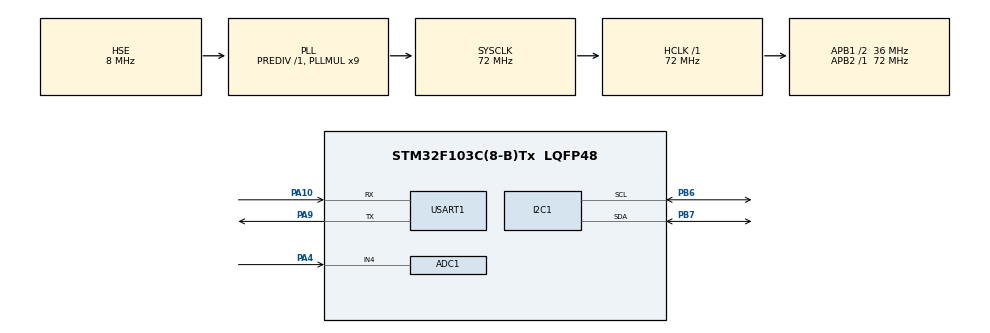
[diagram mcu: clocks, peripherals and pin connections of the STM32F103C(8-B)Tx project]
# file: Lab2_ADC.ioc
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ADC1.Channel-2\#ChannelRegularConversion=ADC_CHANNEL_4
ADC1.ContinuousConvMode=ENABLE
ADC1.NbrOfConversion=1
ADC1.NbrOfConversionFlag=1
ADC1.Rank-2\#ChannelRegularConversion=1
ADC1.SamplingTime-2\#ChannelRegularConversion=ADC_SAMPLETIME_239CYCLES_5
ADC1.master=1
Mcu.Family=STM32F1
Mcu.Name=STM32F103C(8-B)Tx
Mcu.Package=LQFP48
NVIC.ADC1_2_IRQn=true\:0\:0\:false\:false\:true\:true\:true\:true
NVIC.I2C1_ER_IRQn=true\:0\:0\:false\:false\:true\:true\:true\:true
NVIC.I2C1_EV_IRQn=true\:0\:0\:false\:false\:true\:true\:true\:true
NVIC.PriorityGroup=NVIC_PRIORITYGROUP_4
NVIC.USART1_IRQn=true\:0\:0\:false\:false\:true\:true\:true\:true
PA10.Mode=Asynchronous
PA10.Signal=USART1_RX
PA13.Mode=Serial_Wire
PA13.Signal=SYS_JTMS-SWDIO
PA14.Mode=Serial_Wire
PA14.Signal=SYS_JTCK-SWCLK
PA4.Signal=ADCx_IN4
PA9.Mode=Asynchronous
PA9.Signal=USART1_TX
PB6.Mode=I2C
PB6.Signal=I2C1_SCL
PB7.Mode=I2C
PB7.Signal=I2C1_SDA
PD0-OSC_IN.Mode=HSE-External-Oscillator
PD0-OSC_IN.Signal=RCC_OSC_IN
PD1-OSC_OUT.Mode=HSE-External-Oscillator
PD1-OSC_OUT.Signal=RCC_OSC_OUT
ProjectManager.HeapSize=0x200
ProjectManager.StackSize=0x400
ProjectManager.TargetToolchain=STM32CubeIDE
RCC.ADCPresc=RCC_ADCPCLK2_DIV6
RCC.AHBFreq_Value=72000000
RCC.APB1CLKDivider=RCC_HCLK_DIV2
RCC.APB1Freq_Value=36000000
RCC.APB1TimFreq_Value=72000000
RCC.APB2Freq_Value=72000000
RCC.APB2TimFreq_Value=72000000
RCC.HCLKFreq_Value=72000000
RCC.PLLMUL=RCC_PLL_MUL9
RCC.PLLSourceVirtual=RCC_PLLSOURCE_HSE
RCC.SYSCLKFreq_VALUE=72000000
RCC.SYSCLKSource=RCC_SYSCLKSOURCE_PLLCLK
RCC.USBFreq_Value=72000000
SH.ADCx_IN4.0=ADC1_IN4,IN4
USART1.VirtualMode=VM_ASYNC
board=custom

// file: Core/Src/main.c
/* USER CODE BEGIN Header */
/**
  ******************************************************************************
  * @file           : main.c
  * @brief          : Main program body
  ******************************************************************************
  * @attention
  *
  * Copyright (c) 2023 STMicroelectronics.
  * All rights reserved.
  *
  * This software is licensed under terms that can be found in the LICENSE file
  * in the root directory of this software component.
  * If no LICENSE file comes with this software, it is provided AS-IS.
  *
  ******************************************************************************
  */
/* USER CODE END Header */
#include "main.h"

/* USER CODE BEGIN Includes */
#include "stdio.h"
#include "stdint.h"
#include "string.h"
#include "math.h"
/* USER CODE END Includes */

/* USER CODE BEGIN PTD */
typedef struct
{
	float voltage_src;
	uint16_t shunt_voltage_raw; //having negative value
	float shunt_voltage;
	uint16_t bus_voltage_raw;
	float bus_voltage;
	uint16_t current;
	uint16_t power; //Performance (hieu suat) - having negative value
}INA219_Measurement;

/* USER CODE END PTD */

/* USER CODE BEGIN PD */
#define MAX_CONV_RANGE 3.6 //(Conversion voltage range of ADC) Callib value based on which STM32 used
#define MAX_ADC_RESOLUTION_VAL 4095 //STM32F103C8T6 ADC 12 bits
#define ACCURACY_TEMPERATURE_CELCIUS 100 //10mv/Celcius based on LM35 datasheet
//Temperature Sensor Datasheet: extension://bfdogplmndidlpjfhoijckpakkdjkkil/pdf/viewer.html?file=https%3A%2F%2Fwww.ti.com%2Flit%2Fds%2Fsymlink%2Flm35.pdf

//////////// INA219 ////////////
//Define device address
#define INA219_SLAVE_ADDRESS (0x40<<1)
//Define i2c protocol sensor register address - BEGIN
#define INA219_CONFIG_REG 0x007
#define INA219_SHUNTVOLTAGE_REG 0x01
#define INA219_BUSVOLTAGE_REG 0x02
#define INA219_POWER_REG 0x03
#define INA219_CURRENT_REG 0x04
#define INA219_CALLIB_REG 0x05
//Define i2c protocol sensor register address - END
///////////////////////////////
/* USER CODE END PD */

ADC_HandleTypeDef hadc1;

I2C_HandleTypeDef hi2c1;

UART_HandleTypeDef huart1;

/* USER CODE BEGIN PV */
uint32_t raw_temperature_val = 0; //digital value output value from adc
float voltage_temperature_convert = 0; //Voltage analog value convert
float temperature = 0; //temperature after processing
uint8_t Tx_Buffer[2048]; //UART buffer
//in future targ. tạo mảng động
uint8_t Ina219_ready_readflag = 0;

INA219_Measurement ina1;

/* USER CODE END PV */

void SystemClock_Config(void);
static void MX_GPIO_Init(void);
static void MX_ADC1_Init(void);
static void MX_USART1_UART_Init(void);
static void MX_I2C1_Init(void);
/* USER CODE BEGIN PFP */
void Ina219_Init(void);
uint16_t eightbit_to_16bit_conv(uint8_t num1,uint8_t num2);
void Ina219_Read_Value(INA219_Measurement *pTarget);
float conversion(uint16_t dec_num);
void debug_show(); //recreate this func to make it more reusable in future
//First determine what kind of input we could have, how to print it out?
//pointer to value
/* USER CODE END PFP */

/* USER CODE BEGIN 0 */

float conversion(uint16_t dec_num)
{
    // array to store binary number
    uint8_t binaryNum[16] = {0,0,0,0,0,0,0,0,0,0,0,0,0,0,0,0};
    //						LSB								MSB
    float conv_result = 0;

    // counter for binary array
    int i = 0;
    while (dec_num > 0) {

        // storing remainder in binary array
        binaryNum[i] = dec_num % 2;
        dec_num = dec_num / 2;
        i++;
    }

    for (int j = 0; j < i; j++)
    {
        if(j==15 && binaryNum[j]==1)
        {
        	conv_result += (int)(pow(2,j)*(-1));
        }
    }

    binaryNum[0] -= 1; //tru chua dung

    // printing binary array in reverse order
    for (int j = 0; j < i; j++)
    {
    	//thuc hien bu 2
    	//1 dao bit
    	//2 cong 1
    	binaryNum[j] = !binaryNum[j];
    }

    for (int j = 0; j < i; j++)
    {
    	if(binaryNum[j]==1)
    	{
    		conv_result += (int)(pow(2,j));
    	}
    }

//    memset(Tx_Buffer,0,sizeof(Tx_Buffer)); //clear buffer before write
//    sprintf((char*)Tx_Buffer,"conv-res: %.2f",(float)conv_result/100);
//    HAL_UART_Transmit(&huart1,Tx_Buffer,sizeof(Tx_Buffer), 10);
//    HAL_Delay(1000);

    return conv_result;
}

void Ina219_Init(void)
{
	uint8_t buffer[3];
	buffer[0] = INA219_CALLIB_REG;
	buffer[1] = 0x01; //MSB callib reg
	buffer[2] = 0x9A; //LSB callib reg
	//init ina219 callibration
	//28ms is time out value based on ina219 datasheet corresponding to SMBus
	if(HAL_I2C_Master_Transmit(&hi2c1, INA219_SLAVE_ADDRESS,buffer,3,28)==HAL_OK)
	{
		memset(Tx_Buffer,0,sizeof(Tx_Buffer)); //clear buffer before write
		sprintf((char*)Tx_Buffer,"INA219: I2C TRANSMIT CALLIB SUCCESSFULLY!\nReady to read..");
		HAL_UART_Transmit(&huart1,Tx_Buffer,sizeof(Tx_Buffer), 10);
		Ina219_ready_readflag = 1;
	} else if (HAL_I2C_Master_Transmit(&hi2c1, INA219_SLAVE_ADDRESS,buffer,3,28)==HAL_ERROR)
	{
		memset(Tx_Buffer,0,sizeof(Tx_Buffer)); //clear buffer before write
		sprintf((char*)Tx_Buffer,"INA219: I2C TRANSMIT CALLIB ERROR!\n");
		HAL_UART_Transmit(&huart1,Tx_Buffer,sizeof(Tx_Buffer), 10);
	} else if (HAL_I2C_Master_Transmit(&hi2c1, INA219_SLAVE_ADDRESS,buffer,3,28)==HAL_BUSY)
	{
		memset(Tx_Buffer,0,sizeof(Tx_Buffer)); //clear buffer before write
		sprintf((char*)Tx_Buffer,"INA219: I2C TRANSMIT CALLIB BUSY!\n");
		HAL_UART_Transmit(&huart1,Tx_Buffer,sizeof(Tx_Buffer), 10);
	}
	HAL_Delay(1000);
}

void Ina219_Read_Value(INA219_Measurement *pTarget)
{
	uint8_t current_val_buffer[2];
	uint8_t bus_voltage_val_buffer[2];
	uint8_t shuntvoltage_val_buffer[2];
	uint8_t power_val_buffer[2];

	//current handle - Fix to read right shunt voltage with = signed value
	if(HAL_I2C_Master_Transmit(&hi2c1, INA219_SLAVE_ADDRESS,(uint8_t*)INA219_CURRENT_REG,1,28)==HAL_OK)
	{
		 //memset(Tx_Buffer,0,sizeof(Tx_Buffer)); //clear buffer before write
		 //sprintf((char*)Tx_Buffer,"INA219: I2C POINT TO CURRENT REGISTER SUCCESSFULLY!\nReady to read..");
		 //HAL_UART_Transmit(&huart1,Tx_Buffer,sizeof(Tx_Buffer), 10);
		 //HAL_Delay(1000);

		 if(HAL_I2C_Master_Receive(&hi2c1, INA219_SLAVE_ADDRESS,current_val_buffer,2,28) == HAL_OK)
		 {
			 pTarget->current = eightbit_to_16bit_conv(current_val_buffer[0], current_val_buffer[1]);
		 }
	} else
	{
		//throw error
		memset(Tx_Buffer,0,sizeof(Tx_Buffer)); //clear buffer before write
		sprintf((char*)Tx_Buffer,"INA219: READ CURRENT FAILED!\n");
		HAL_UART_Transmit(&huart1,Tx_Buffer,sizeof(Tx_Buffer), 10);
		HAL_Delay(1000);
	}

	//bus voltage handle
	if(HAL_I2C_Master_Transmit(&hi2c1, INA219_SLAVE_ADDRESS,(uint8_t*)INA219_BUSVOLTAGE_REG,1,28)==HAL_OK)
	{
		//memset(Tx_Buffer,0,sizeof(Tx_Buffer)); //clear buffer before write
		//sprintf((char*)Tx_Buffer,"INA219: I2C POINT TO BV REGISTER SUCCESSFULLY!\nReady to read..");
		//HAL_UART_Transmit(&huart1,Tx_Buffer,sizeof(Tx_Buffer), 10);
		//HAL_Delay(1000);

		if(HAL_I2C_Master_Receive(&hi2c1, INA219_SLAVE_ADDRESS, bus_voltage_val_buffer,2,28) == HAL_OK)
		{
			pTarget->bus_voltage_raw = eightbit_to_16bit_conv( bus_voltage_val_buffer[0],  bus_voltage_val_buffer[1]);
		}
	} else
	{
		//throw error
		memset(Tx_Buffer,0,sizeof(Tx_Buffer)); //clear buffer before write
		sprintf((char*)Tx_Buffer,"INA219: READ BV FAILED!\n");
		HAL_UART_Transmit(&huart1,Tx_Buffer,sizeof(Tx_Buffer), 10);
		HAL_Delay(1000);
	}

	//Power handle
	if(HAL_I2C_Master_Transmit(&hi2c1, INA219_SLAVE_ADDRESS,(uint8_t*)INA219_POWER_REG,1,28)==HAL_OK)
	{
		//memset(Tx_Buffer,0,sizeof(Tx_Buffer)); //clear buffer before write
		//sprintf((char*)Tx_Buffer,"INA219: I2C POINT TO BV REGISTER POWER!\nReady to read..");
		//HAL_UART_Transmit(&huart1,Tx_Buffer,sizeof(Tx_Buffer), 10);
		//HAL_Delay(1000);

		if(HAL_I2C_Master_Receive(&hi2c1, INA219_SLAVE_ADDRESS, power_val_buffer,2,28) == HAL_OK)
		{
			pTarget->power = eightbit_to_16bit_conv(power_val_buffer[0],power_val_buffer[1]);
		}
	} else
	{
			//throw error
			memset(Tx_Buffer,0,sizeof(Tx_Buffer)); //clear buffer before write
			sprintf((char*)Tx_Buffer,"INA219: READ POWER FAILED!\n");
			HAL_UART_Transmit(&huart1,Tx_Buffer,sizeof(Tx_Buffer), 10);
			HAL_Delay(1000);
	}

	//Shunt voltage handle - Fix to read right shunt voltage with = signed value
	if(HAL_I2C_Master_Transmit(&hi2c1, INA219_SLAVE_ADDRESS,(uint8_t*)INA219_SHUNTVOLTAGE_REG,1,28)==HAL_OK)
	{
		//memset(Tx_Buffer,0,sizeof(Tx_Buffer)); //clear buffer before write
		//sprintf((char*)Tx_Buffer,"INA219: I2C POINT TO BV REGISTER SUCCESSFULLY!\nReady to read..");
		//HAL_UART_Transmit(&huart1,Tx_Buffer,sizeof(Tx_Buffer), 10);
		//HAL_Delay(1000);

		if(HAL_I2C_Master_Receive(&hi2c1, INA219_SLAVE_ADDRESS,shuntvoltage_val_buffer,2,28) == HAL_OK)
		{
			pTarget->shunt_voltage_raw = eightbit_to_16bit_conv(shuntvoltage_val_buffer[0],shuntvoltage_val_buffer[1]);
			//raw_shuntvoltage = pTarget->shunt_voltage; //neu cai nay ra duoc số âm thì convert to uint8_t
		}
	} else
	{
		//throw error
		memset(Tx_Buffer,0,sizeof(Tx_Buffer)); //clear buffer before write
		sprintf((char*)Tx_Buffer,"INA219: READ SHUNT VOLTAGE FAILED!\n");
		HAL_UART_Transmit(&huart1,Tx_Buffer,sizeof(Tx_Buffer), 10);
		HAL_Delay(1000);
	}

	 pTarget->shunt_voltage = conversion(pTarget->shunt_voltage_raw)/100; //inlude accruracy to 0.01mV
	 pTarget->bus_voltage = ((pTarget->bus_voltage_raw>>3)*4)/100; //4mV corresponding

	 pTarget->voltage_src = pTarget->shunt_voltage + pTarget->bus_voltage;

	 //memset(Tx_Buffer,0,sizeof(Tx_Buffer)); //clear buffer before write
	 sprintf((char*)Tx_Buffer,"Vshu.: %.2f mV\nVbus: %.2f V\nVsrc: %.2f V",pTarget->shunt_voltage,pTarget->bus_voltage,pTarget->voltage_src);
	 //sprintf((char*)Tx_Buffer,"Temp.: %.2f C\nCurrent: %u A\nBus Volt.: %u V\nPower: %u W\nShunt Vol.: %u V\n",temperature,ina1.current/4096,ina1.bus_voltage/4096,ina1.power/4096,ina1.shunt_voltage*(10/1000000)/4096);

	 //sprintf((char*)Tx_Buffer,"Temp.: %.2f C\nShunt V.: %d mV\n",temperature,ina1.shunt_voltage);
	 HAL_UART_Transmit(&huart1,Tx_Buffer,sizeof(Tx_Buffer), 10);
	 HAL_Delay(500);
}

void debug_show()
{
	 //memset(Tx_Buffer,0,sizeof(Tx_Buffer)); //clear buffer before write
	 //sprintf((char*)Tx_Buffer,"Temp.: %.2f C\nCurrent: %u A\nBus Volt.: %u V\nPower: %u W\nShunt Vol.: %u V\n",temperature,ina1.current/4096,ina1.bus_voltage/4096,ina1.power/4096,ina1.shunt_voltage*(10/1000000)/4096);

	 //sprintf((char*)Tx_Buffer,"Temp.: %.2f C\nShunt V.: %d mV\n",temperature,ina1.shunt_voltage);
	 //HAL_UART_Transmit(&huart1,Tx_Buffer,sizeof(Tx_Buffer), 10);
	 //HAL_Delay(500);
}

uint16_t eightbit_to_16bit_conv(uint8_t num1,uint8_t num2)
{
	uint16_t result = (num1 << 8) | num2;
	return result;
}

void HAL_ADC_ConvCpltCallback(ADC_HandleTypeDef* hadc)
 {
 	if(hadc->Instance == hadc1.Instance)
 	{
 		raw_temperature_val = HAL_ADC_GetValue(&hadc1);
 	}
 	//if the continous ADC read disable we will start again here
 	//HAL_ADC_Start_IT(&hadc1);
 }
/* USER CODE END 0 */

int main(void)
{

  /* MCU Configuration--------------------------------------------------------*/

  /* Reset of all peripherals, Initializes the Flash interface and the Systick. */
  HAL_Init();

  /* Configure the system clock */
  SystemClock_Config();

  /* Initialize all configured peripherals */
  MX_GPIO_Init();
  MX_ADC1_Init();
  MX_USART1_UART_Init();
  MX_I2C1_Init();
  /* USER CODE BEGIN 2 */
  HAL_ADC_Start_IT(&hadc1);

  Ina219_Init();
  /* USER CODE END 2 */

  /* Infinite loop */
  /* USER CODE BEGIN WHILE */
  while (1)
  {
	  ////////////LM35 - TEMPERATURE SENSOR //////////////
	  //calculation to get temperature
	  voltage_temperature_convert = (float)raw_temperature_val*MAX_CONV_RANGE/MAX_ADC_RESOLUTION_VAL;
	  temperature = voltage_temperature_convert*100;
	  ////////////LM35 - TEMPERATURE SENSOR //////////////
	  ////////////INA219 - TEMPERATURE SENSOR //////////////
	  if(Ina219_ready_readflag)
	  {
		  Ina219_Read_Value(&ina1);
	  }
	  ////////////INA219 - TEMPERATURE SENSOR //////////////

	  ////////////DEBUG OLED SSD1306 - ESP32 THROUGH UART //////////////
	  debug_show();
	  ////////////DEBUG OLED SSD1306 - ESP32 THROUGH UART //////////////
    /* USER CODE END WHILE */

  }
}

void SystemClock_Config(void)
{
  RCC_OscInitTypeDef RCC_OscInitStruct = {0};
  RCC_ClkInitTypeDef RCC_ClkInitStruct = {0};
  RCC_PeriphCLKInitTypeDef PeriphClkInit = {0};

  /** Initializes the RCC Oscillators according to the specified parameters
  * in the RCC_OscInitTypeDef structure.
  */
  RCC_OscInitStruct.OscillatorType = RCC_OSCILLATORTYPE_HSE;
  RCC_OscInitStruct.HSEState = RCC_HSE_ON;
  RCC_OscInitStruct.HSEPredivValue = RCC_HSE_PREDIV_DIV1;
  RCC_OscInitStruct.HSIState = RCC_HSI_ON;
  RCC_OscInitStruct.PLL.PLLState = RCC_PLL_ON;
  RCC_OscInitStruct.PLL.PLLSource = RCC_PLLSOURCE_HSE;
  RCC_OscInitStruct.PLL.PLLMUL = RCC_PLL_MUL9;
  if (HAL_RCC_OscConfig(&RCC_OscInitStruct) != HAL_OK)
  {
    Error_Handler();
  }

  /** Initializes the CPU, AHB and APB buses clocks
  */
  RCC_ClkInitStruct.ClockType = RCC_CLOCKTYPE_HCLK|RCC_CLOCKTYPE_SYSCLK
                              |RCC_CLOCKTYPE_PCLK1|RCC_CLOCKTYPE_PCLK2;
  RCC_ClkInitStruct.SYSCLKSource = RCC_SYSCLKSOURCE_PLLCLK;
  RCC_ClkInitStruct.AHBCLKDivider = RCC_SYSCLK_DIV1;
  RCC_ClkInitStruct.APB1CLKDivider = RCC_HCLK_DIV2;
  RCC_ClkInitStruct.APB2CLKDivider = RCC_HCLK_DIV1;

  if (HAL_RCC_ClockConfig(&RCC_ClkInitStruct, FLASH_LATENCY_2) != HAL_OK)
  {
    Error_Handler();
  }
  PeriphClkInit.PeriphClockSelection = RCC_PERIPHCLK_ADC;
  PeriphClkInit.AdcClockSelection = RCC_ADCPCLK2_DIV6;
  if (HAL_RCCEx_PeriphCLKConfig(&PeriphClkInit) != HAL_OK)
  {
    Error_Handler();
  }
}

static void MX_ADC1_Init(void)
{

  ADC_ChannelConfTypeDef sConfig = {0};

  /** Common config
  */
  hadc1.Instance = ADC1;
  hadc1.Init.ScanConvMode = ADC_SCAN_DISABLE;
  hadc1.Init.ContinuousConvMode = ENABLE;
  hadc1.Init.DiscontinuousConvMode = DISABLE;
  hadc1.Init.ExternalTrigConv = ADC_SOFTWARE_START;
  hadc1.Init.DataAlign = ADC_DATAALIGN_RIGHT;
  hadc1.Init.NbrOfConversion = 1;
  if (HAL_ADC_Init(&hadc1) != HAL_OK)
  {
    Error_Handler();
  }

  /** Configure Regular Channel
  */
  sConfig.Channel = ADC_CHANNEL_4;
  sConfig.Rank = ADC_REGULAR_RANK_1;
  sConfig.SamplingTime = ADC_SAMPLETIME_239CYCLES_5;
  if (HAL_ADC_ConfigChannel(&hadc1, &sConfig) != HAL_OK)
  {
    Error_Handler();
  }

}

static void MX_I2C1_Init(void)
{

  hi2c1.Instance = I2C1;
  hi2c1.Init.ClockSpeed = 100000;
  hi2c1.Init.DutyCycle = I2C_DUTYCYCLE_2;
  hi2c1.Init.OwnAddress1 = 0;
  hi2c1.Init.AddressingMode = I2C_ADDRESSINGMODE_7BIT;
  hi2c1.Init.DualAddressMode = I2C_DUALADDRESS_DISABLE;
  hi2c1.Init.OwnAddress2 = 0;
  hi2c1.Init.GeneralCallMode = I2C_GENERALCALL_DISABLE;
  hi2c1.Init.NoStretchMode = I2C_NOSTRETCH_DISABLE;
  if (HAL_I2C_Init(&hi2c1) != HAL_OK)
  {
    Error_Handler();
  }

}

static void MX_USART1_UART_Init(void)
{

  huart1.Instance = USART1;
  huart1.Init.BaudRate = 115200;
  huart1.Init.WordLength = UART_WORDLENGTH_8B;
  huart1.Init.StopBits = UART_STOPBITS_1;
  huart1.Init.Parity = UART_PARITY_NONE;
  huart1.Init.Mode = UART_MODE_TX_RX;
  huart1.Init.HwFlowCtl = UART_HWCONTROL_NONE;
  huart1.Init.OverSampling = UART_OVERSAMPLING_16;
  if (HAL_UART_Init(&huart1) != HAL_OK)
  {
    Error_Handler();
  }

}

static void MX_GPIO_Init(void)
{

  /* GPIO Ports Clock Enable */
  __HAL_RCC_GPIOD_CLK_ENABLE();
  __HAL_RCC_GPIOA_CLK_ENABLE();
  __HAL_RCC_GPIOB_CLK_ENABLE();

}

void Error_Handler(void)
{
  /* USER CODE BEGIN Error_Handler_Debug */
  /* User can add his own implementation to report the HAL error return state */
  __disable_irq();
  while (1)
  {
	  memset(Tx_Buffer,0,sizeof(Tx_Buffer)); //clear buffer before write
	  sprintf((char*)Tx_Buffer,"System init error\n");
	  HAL_Delay(500);
  }
  /* USER CODE END Error_Handler_Debug */
}
